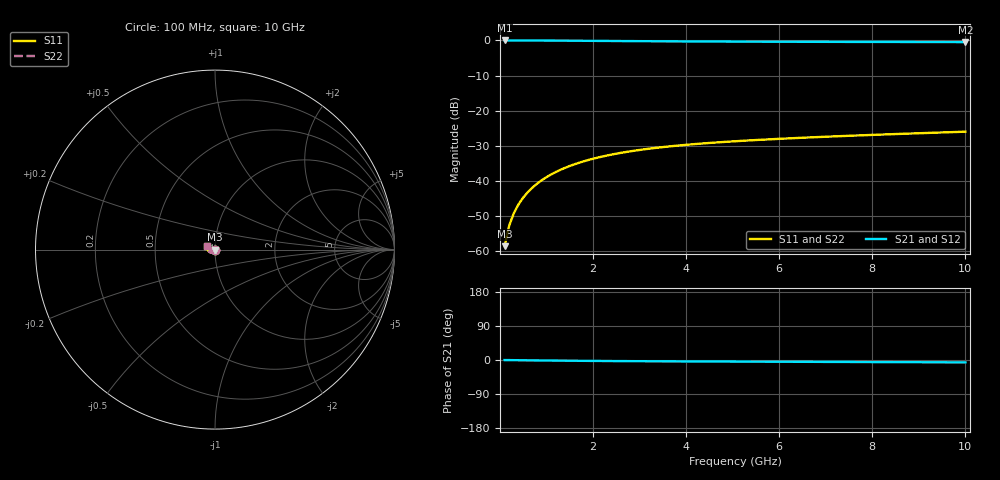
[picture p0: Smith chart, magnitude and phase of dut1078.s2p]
! Touchstone file exported from HFSS 2024.1.0
!  File:  C:/UserFiles/LocalFiles/RDL_TSV_Batchsim/temp_TSV1_1078_1780065220.aedt
!  Generated:  10:41:02 PM May 29, 2026
!  Design:  TSV1
!  Project:  temp_TSV1_1078_1780065220
!  Setup:  Setup1
!  Solution:  Sweep
! Variables:
!  dtsv = 8.74um
!  hbump = 3um
!  htsv = 96.72um
!  lrdl = 252.1521522um
!  p = 40
!  p1 = 56.93um
!  t = 500um
!  trdl = 3um
!  wrdl = 24.89489489um
# GHz S MA R 50.000000
! Terminal data exported
! Port[1] = TSV22_T1
! Port[2] = TSV22_T2
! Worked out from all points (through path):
!   100 points, 100 MHz to 10 GHz, reference 50 ohm
!   highest |S21| = 0.00 dB at 100 MHz (marker M1); lowest = -0.5 dB at 10 GHz (marker M2)
!   lowest |S11| = -58.5 dB at 100 MHz (marker M3), VSWR 1.00, Z = 50 - j0.118 ohm
!   |S11| at or under -10 dB: start of sweep to end of sweep
!   |S22| runs from -58.5 to -25.9 dB; largest |S21 - S12| = 6.7e-15
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0.1  0.001189 -81.8  0.9997 -0.1  0.9997 -0.1  0.001189 -81.8
! Gamma 0 0 0 0
! Port Impedance 50 0 50 0
0.2  0.002352 -88.8  0.9996 -0.3  0.9996 -0.3  0.002352 -88.8
0.3  0.003521 -92.6  0.9994 -0.4  0.9994 -0.4  0.003521 -92.6
0.4  0.004686 -95.5  0.9991 -0.6  0.9991 -0.6  0.004686 -95.5
0.5  0.005842 -98.1  0.9987 -0.7  0.9987 -0.7  0.005842 -98.1
0.6  0.006985 -100.5  0.9982 -0.8  0.9982 -0.8  0.006985 -100.5
0.7  0.008114 -102.8  0.9977 -1.0  0.9977 -1.0  0.008114 -102.8
0.8  0.009226 -105.0  0.9971 -1.1  0.9971 -1.1  0.009226 -105.0
0.9  0.01032 -107.2  0.9964 -1.2  0.9964 -1.2  0.01032 -107.2
1.1  0.01244 -111.4  0.9949 -1.5  0.9949 -1.5  0.01244 -111.4
1.4  0.01546 -117.3  0.9924 -1.8  0.9924 -1.8  0.01546 -117.3
1.6  0.01734 -121.1  0.9905 -2.0  0.9905 -2.0  0.01734 -121.1
1.8  0.01912 -124.7  0.9886 -2.2  0.9886 -2.2  0.01912 -124.7
2.1  0.02159 -129.9  0.9856 -2.5  0.9856 -2.5  0.02159 -129.9
2.5  0.02455 -136.3  0.9817 -2.8  0.9817 -2.8  0.02455 -136.3
2.9  0.02714 -142.3  0.978 -3.1  0.978 -3.1  0.02714 -142.3
3.4  0.02995 -149.1  0.9737 -3.4  0.9737 -3.4  0.02995 -149.1
4.2  0.03367 -158.6  0.9678 -3.8  0.9678 -3.8  0.03367 -158.6
5.1  0.03705 -167.8  0.9626 -4.2  0.9626 -4.2  0.03705 -167.8
6.7  0.04194 178.7  0.9561 -4.9  0.9561 -4.9  0.04194 178.7
8.4  0.04643 167.4  0.9516 -5.6  0.9516 -5.6  0.04643 167.4
10  0.05046 158.5  0.9487 -6.3  0.9487 -6.3  0.05046 158.5
